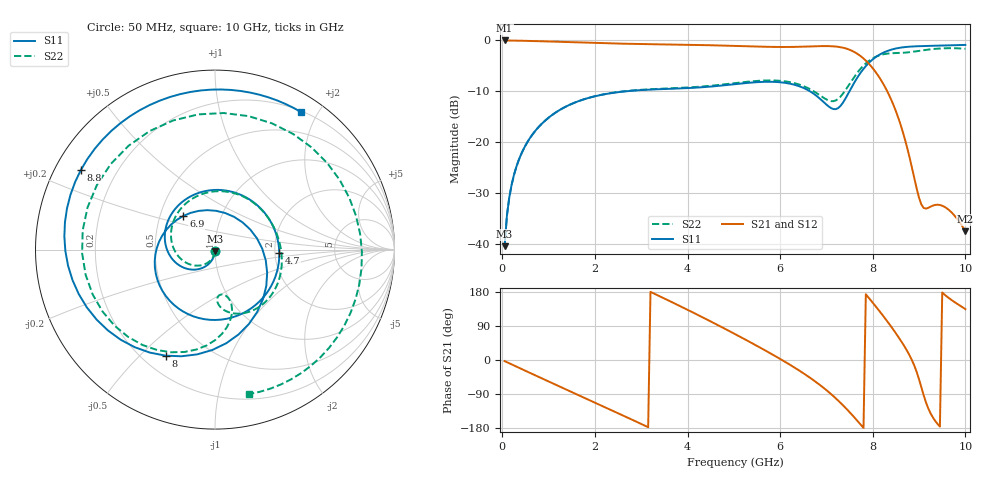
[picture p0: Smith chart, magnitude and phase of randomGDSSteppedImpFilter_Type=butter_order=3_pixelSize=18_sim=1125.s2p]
! freq	dB(S11)	phase(S11)	dB(S12)	phase(S12)
!  dB(S21)	phase(S21)	dB(S22)	phase(S22)
!S-par simulation data
#  GHz  S  DB  R 50
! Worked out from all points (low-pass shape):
!   200 points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, 50 MHz to 10 GHz, reference 50 ohm
!   highest |S21| = 0.00 dB at 50 MHz (marker M1); lowest = -37.5 dB at 10 GHz (marker M2)
!   |S21| within 3 dB of the highest: start of sweep to 7.725 GHz
!   lowest |S11| = -40.4 dB at 50 MHz (marker M3), VSWR 1.02, Z = 50 - j0.948 ohm
!   |S11| at or under -10 dB: start of sweep to 2.665 GHz; 6.643 GHz to 7.497 GHz (853.6 MHz wide, 12.1 % of centre)
!   |S22| runs from -40.5 to -1.5 dB; largest |S21 - S12| = 0
!   S11 on the Smith chart (normalised r, x): 50 MHz: 1.00, -0.02; 4.7 GHz: 2.11, -0.09; 6.9 GHz: 0.66, +0.26; 8 GHz: 0.29, -0.60; 8.8 GHz: 0.08, +0.27; 10 GHz: 0.21, +1.79
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0.05  -40.45 -92.1  -0.00 -2.9  -0.00 -2.9  -40.45 -92.9
0.2  -28.44 -100.1  -0.02 -11.5  -0.02 -11.5  -28.45 -102.9
0.5  -20.65 -115.4  -0.08 -28.5  -0.08 -28.5  -20.67 -122.4
1.15  -14.18 -147.8  -0.25 -65.1  -0.25 -65.1  -14.19 -163.9
1.75  -11.61 -177.3  -0.43 -98.5  -0.43 -98.5  -11.61 158.6
2.65  -10.01 136.7  -0.65 -148.9  -0.65 -148.9  -9.98 104.0
3.4  -9.58 93.1  -0.77 168.1  -0.77 168.1  -9.51 61.9
4.7  -8.90 -3.0  -0.99 89.2  -0.99 89.2  -8.72 1.4
5.05  -8.57 -32.6  -1.08 66.8  -1.08 66.8  -8.36 -13.4
5.95  -8.19 -112.6  -1.28 6.4  -1.28 6.4  -7.91 -53.3
6.7  -10.33 165.3  -1.16 -51.6  -1.16 -51.6  -9.86 -84.6
6.9  -11.79 133.1  -1.11 -69.8  -1.11 -69.8  -11.04 -87.6
7.2  -13.51 59.8  -1.20 -101.0  -1.20 -101.0  -11.80 -78.6
7.5  -9.95 -24.0  -1.83 -137.7  -1.83 -137.7  -8.52 -75.6
8  -3.72 -115.0  -5.48 151.2  -5.48 151.2  -3.51 -127.2
8.35  -1.96 -161.9  -10.70 96.0  -10.70 96.0  -2.56 171.8
8.6  -1.41 169.6  -16.56 52.1  -16.56 52.1  -2.45 118.9
8.8  -1.22 149.4  -23.20 10.9  -23.20 10.9  -2.31 75.9
9.05  -1.11 126.7  -32.27 -72.3  -32.27 -72.3  -1.98 29.2
9.25  -1.06 110.3  -32.67 -141.2  -32.67 -141.2  -1.74 -0.7
9.6  -0.97 84.3  -33.02 167.5  -33.02 167.5  -1.53 -40.7
10  -0.88 58.0  -37.55 134.3  -37.55 134.3  -1.65 -76.8
